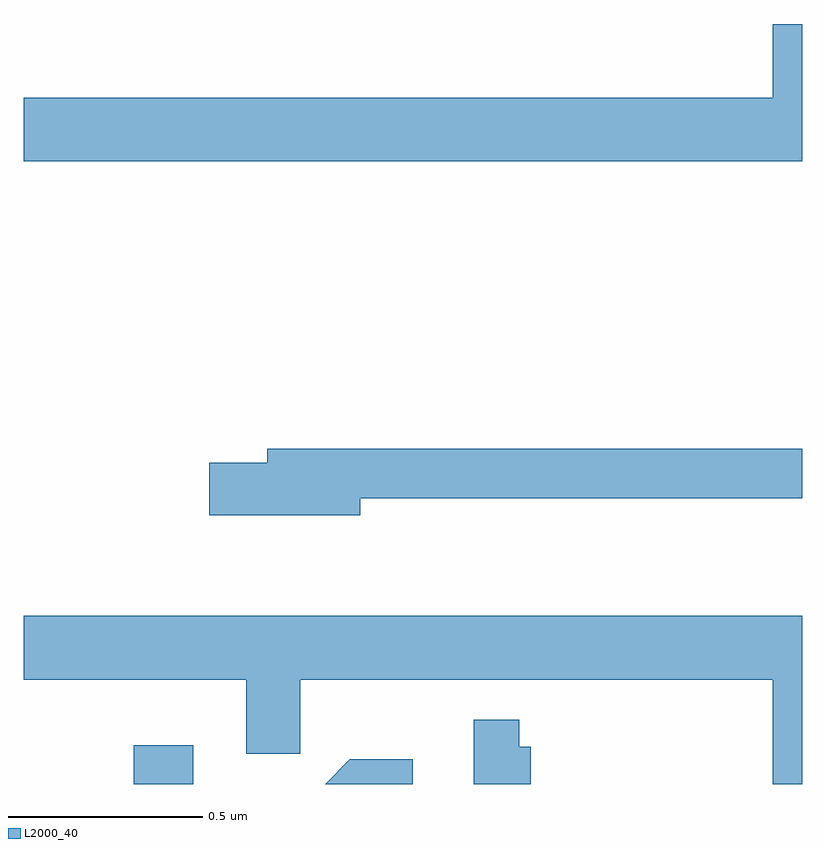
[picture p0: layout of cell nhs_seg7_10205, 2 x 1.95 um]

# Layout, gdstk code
import gdstk
lib = gdstk.Library(unit=1e-6, precision=1e-09)
def R(c, l, rs):  # rectangles x0, y0, x1, y1
    for r in rs: c.add(gdstk.rectangle(r[:2], r[2:], *l))
def P(c, l, *ps):  # polygons
    for p in ps: c.add(gdstk.Polygon(p, *l))
L2000_40 = (2000, 40)

nhs_seg7_10205 = lib.new_cell('nhs_seg7_10205')
R(nhs_seg7_10205, L2000_40, [(247.283,1015,247.435,1015.099)])
P(nhs_seg7_10205, L2000_40, [(249,1016.953),(248.924,1016.953),(248.924,1016.764),(247,1016.764),(247,1016.6),(249,1016.6)],
  [(247.864,1015.734),(249,1015.734),(249,1015.862),(247.625,1015.862),(247.625,1015.826),(247.476,1015.826),(247.476,1015.691),(247.864,1015.691)],
  [(249,1015.432),(247,1015.432),(247,1015.268),(247.571,1015.268),(247.571,1015.078),(247.71,1015.078),(247.71,1015.268),(248.924,1015.268),(248.924,1015),(249,1015)],
  [(248.303,1015.096),(248.273,1015.096),(248.273,1015.165),(248.156,1015.165),(248.156,1015),(248.303,1015)],
  [(247.999,1015.063),(247.837,1015.063),(247.774,1015),(247.999,1015)])

lib.write_gds('nhs_seg7_10205.gds')
